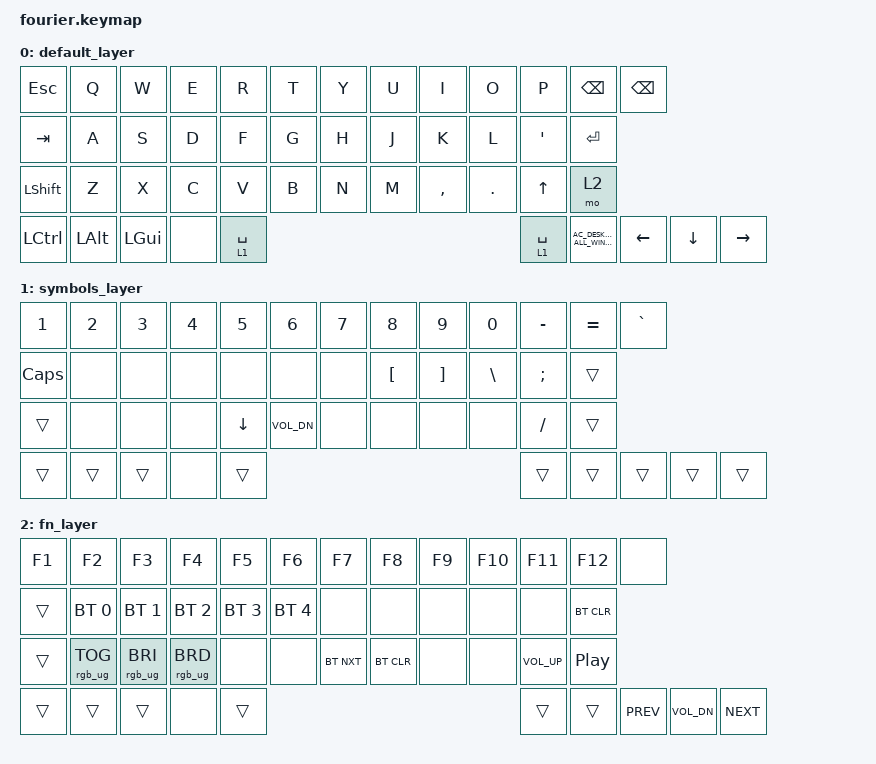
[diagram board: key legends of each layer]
/*
 * Copyright (c) 2021 The ZMK Contributors
 *
 * SPDX-License-Identifier: MIT
 */

#include <behaviors.dtsi>
#include <dt-bindings/zmk/bt.h>
#include <dt-bindings/zmk/keys.h>
#include <dt-bindings/zmk/rgb.h>
#include <dt-bindings/led/led.h>

&spi1 {
	compatible = "nordic,nrf-spim";
	status = "okay";
	mosi-pin = <6>;
	// Unused pins, needed for SPI definition, but not used by the ws2812 driver itself.
	sck-pin = <5>;
	miso-pin = <7>;

	led_strip: ws2812@0 {
		compatible = "worldsemi,ws2812-spi";
		label = "WS2812";

		/* SPI */
		reg = <0>; /* ignored, but necessary for SPI bindings */
		spi-max-frequency = <4000000>;

		/* WS2812 */
		chain-length = <11>; /* arbitrary; change at will */
		spi-one-frame = <0x70>;
		spi-zero-frame = <0x40>;
		color-mapping = <LED_COLOR_ID_GREEN LED_COLOR_ID_RED LED_COLOR_ID_BLUE>;
	};
};

/ {
	chosen {
		zmk,underglow = &led_strip;
	};
};

/ {
    keymap {
        compatible = "zmk,keymap";

// ----------------------------------------------      ----------------------------------------------
// | ESC  |  Q  |  W  |  E  |  R  |  T  |              |  Y  |  U  |  I  |  O  |  P  |     |  BKSP  |
// | TAB    |  A  |  S  |  D   |  F  |  G  |             |  H  |  J  |  K  |  L  |  '  |    ENTER   |
// | SHIFT     |  Z  |  X  |  C  |  V  |  B  |              |  N  |  M  |  ,  |  .  |  /  |   L2    |
// | LCTRL   | LALT| LGUI |   SPACE        |             |   SPACE/L1  | SAW |  RGUI  |  RALT  |RCTRL|
// -------------------------------------------        -----------------------------------------------

        default_layer {
            bindings = <
    &kp ESC   &kp Q    &kp W    &kp E &kp R     &kp T /**/ &kp Y &kp U &kp I     &kp O     &kp P    &kp BSPC  &kp BSPC
    &kp TAB   &kp A    &kp S    &kp D &kp F     &kp G /**/ &kp H &kp J &kp K     &kp L     &kp APOS &kp ENTER
    &kp LSHFT &kp Z    &kp X    &kp C &kp V     &kp B /**/ &kp N &kp M &kp COMMA &kp DOT   &kp UP   &mo 2
    &kp LCTRL &kp LALT &kp LGUI &none &lt 1 SPACE     /**/ &lt 1 SPACE &kp C_AC_DESKTOP_SHOW_ALL_WINDOWS &kp LEFT  &kp DOWN  &kp RIGHT
            >;
        };


        symbols_layer {
            bindings = <
    &kp N1   &kp N2 &kp N3 &kp N4 &kp N5    &kp N6        /**/ &kp N7    &kp N8   &kp N9    &kp N0    &kp MINUS  &kp EQUAL  &kp GRAVE
    &kp CAPS &none  &none  &none  &none     &none         /**/ &none     &kp LBKT &kp RBKT  &kp BSLH  &kp SEMI   &trans
    &trans   &none  &none  &none  &kp DOWN  &kp C_VOL_DN  /**/ &none     &none    &none     &none     &kp SLASH  &trans
    &trans   &trans &trans &none  &trans                  /**/ &trans             &trans    &trans    &trans     &trans
            >;
        };


        fn_layer {
            bindings = <
    &kp F1 &kp F2          &kp F3          &kp F4          &kp F5       &kp F6       /**/ &kp F7     &kp F8     &kp F9    &kp F10    &kp F11      &kp F12    &none
    &trans &bt BT_SEL 0    &bt BT_SEL 1    &bt BT_SEL 2    &bt BT_SEL 3 &bt BT_SEL 4 /**/ &none      &none      &none     &none      &none        &bt BT_CLR
    &trans &rgb_ug RGB_TOG &rgb_ug RGB_BRI &rgb_ug RGB_BRD &none        &none        /**/ &bt BT_NXT &bt BT_CLR &none     &none      &kp C_VOL_UP &kp C_PP
    &trans &trans          &trans          &none           &trans                    /**/ &trans                &trans    &kp C_PREV &kp C_VOL_DN &kp C_NEXT
            >;
        };
    };
};
